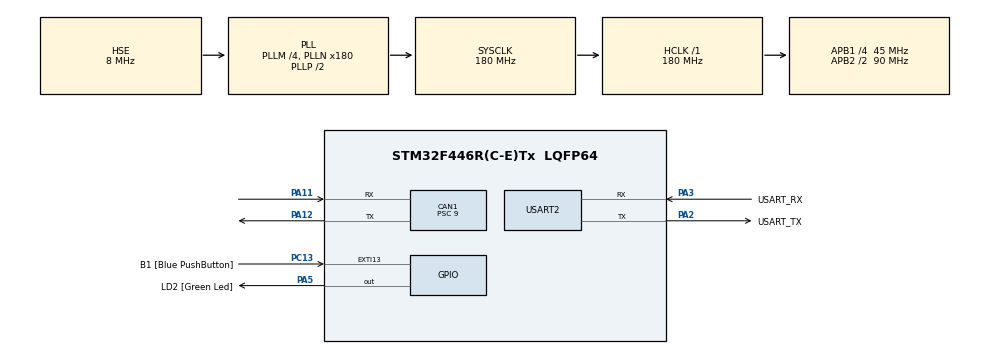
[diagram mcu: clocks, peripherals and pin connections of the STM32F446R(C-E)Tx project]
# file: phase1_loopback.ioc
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CAN1.BS1=CAN_BS1_8TQ
CAN1.CalculateBaudRate=500000
CAN1.CalculateTimeBit=2000
CAN1.CalculateTimeQuantum=200.0
CAN1.Mode=CAN_MODE_LOOPBACK
CAN1.Prescaler=9
Mcu.Family=STM32F4
Mcu.Name=STM32F446R(C-E)Tx
Mcu.Package=LQFP64
NVIC.PriorityGroup=NVIC_PRIORITYGROUP_0
PA11.Mode=CAN_Activate
PA11.Signal=CAN1_RX
PA12.Mode=CAN_Activate
PA12.Signal=CAN1_TX
PA13.GPIO_Label=TMS
PA13.Mode=Serial_Wire
PA13.Signal=SYS_JTMS-SWDIO
PA14.GPIO_Label=TCK
PA14.Mode=Serial_Wire
PA14.Signal=SYS_JTCK-SWCLK
PA2.GPIO_Label=USART_TX
PA2.Mode=Asynchronous
PA2.Signal=USART2_TX
PA3.GPIO_Label=USART_RX
PA3.Mode=Asynchronous
PA3.Signal=USART2_RX
PA5.GPIO_Label=LD2 [Green Led]
PA5.Signal=GPIO_Output
PB3.GPIO_Label=SWO
PB3.Signal=SYS_JTDO-SWO
PC13.GPIO_Label=B1 [Blue PushButton]
PC13.GPIO_ModeDefaultEXTI=GPIO_MODE_IT_FALLING
PC13.Signal=GPXTI13
PC14-OSC32_IN.Signal=RCC_OSC32_IN
PC15-OSC32_OUT.Signal=RCC_OSC32_OUT
PH0-OSC_IN.Mode=HSE-External-Clock-Source
PH0-OSC_IN.Signal=RCC_OSC_IN
PH1-OSC_OUT.Mode=HSE-External-Clock-Source
PH1-OSC_OUT.Signal=RCC_OSC_OUT
ProjectManager.HeapSize=0x200
ProjectManager.StackSize=0x400
ProjectManager.TargetToolchain=STM32CubeIDE
RCC.AHBFreq_Value=180000000
RCC.APB1CLKDivider=RCC_HCLK_DIV4
RCC.APB1Freq_Value=45000000
RCC.APB1TimFreq_Value=90000000
RCC.APB2CLKDivider=RCC_HCLK_DIV2
RCC.APB2Freq_Value=90000000
RCC.APB2TimFreq_Value=180000000
RCC.CortexFreq_Value=180000000
RCC.FLatency-AdvancedSettings=FLASH_LATENCY_5
RCC.HCLKFreq_Value=180000000
RCC.HSE_VALUE=8000000
RCC.HSI_VALUE=16000000
RCC.LSE_VALUE=32768
RCC.PLLM=4
RCC.PLLN=180
RCC.PLLSourceVirtual=RCC_PLLSOURCE_HSE
RCC.SYSCLKFreq_VALUE=180000000
RCC.SYSCLKSource=RCC_SYSCLKSOURCE_PLLCLK
RCC.USBFreq_Value=180000000
RCC.VCOOutputFreq_Value=360000000
USART2.VirtualMode=VM_ASYNC
board=NUCLEO-F446RE

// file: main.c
/* USER CODE BEGIN Header */
/**
  ******************************************************************************
  * @file           : main.c
  * @brief          : Main program body
  ******************************************************************************
  * @attention
  *
  * Copyright (c) 2026 STMicroelectronics.
  * All rights reserved.
  *
  * This software is licensed under terms that can be found in the LICENSE file
  * in the root directory of this software component.
  * If no LICENSE file comes with this software, it is provided AS-IS.
  *
  ******************************************************************************
  */
/* USER CODE END Header */
#include "main.h"
#include "can.h"
#include "usart.h"
#include "gpio.h"

/* USER CODE BEGIN Includes */
#include <stdio.h>
#include <string.h>
/* USER CODE END Includes */

/* USER CODE BEGIN PV */
uint32_t tx_count = 0;
uint32_t rx_count = 0;
/* USER CODE END PV */

void SystemClock_Config(void);

int main(void)
{

  /* MCU Configuration--------------------------------------------------------*/

  /* Reset of all peripherals, Initializes the Flash interface and the Systick. */
  HAL_Init();

  /* Configure the system clock */
  SystemClock_Config();

  /* Initialize all configured peripherals */
  MX_GPIO_Init();
  MX_USART2_UART_Init();
  MX_CAN1_Init();
  /* USER CODE BEGIN 2 */

  /* --- 단계별 반환값 저장 --- */
  HAL_StatusTypeDef filter_status;
  HAL_StatusTypeDef start_status;

  /* --- CAN 필터 --- */
  /* bxCAN은 필터를 통과한 프레임만 FIFO에 들어옴
  -> 필터 설정 없이는 아무것도 수신 못 함.
  IDMASK 모드 + 마스크 전부 0 = 모든 비트 don't care
  = 모든 ID 수신 허용 */
  CAN_FilterTypeDef filter = {0};
  filter.FilterBank          = 0;
  filter.FilterMode          = CAN_FILTERMODE_IDMASK;
  filter.FilterScale         = CAN_FILTERSCALE_32BIT;
  filter.FilterIdHigh        = 0x0000;
  filter.FilterIdLow         = 0x0000;
  filter.FilterMaskIdHigh    = 0x0000;
  filter.FilterMaskIdLow     = 0x0000;
  filter.FilterFIFOAssignment = CAN_RX_FIFO0;
  filter.FilterActivation    = ENABLE;
  filter.SlaveStartFilterBank = 14;
  // 필터 뱅크 28개를 CAN1/CAN2가 분할 사용, 14번부터 CAN2 몫
  filter_status = HAL_CAN_ConfigFilter(&hcan1, &filter);

  /* --- CAN Start --- */
  /* Start 전 상태 확인 */
  char filter_msg[80];
  int filter_len = snprintf(filter_msg, sizeof(filter_msg),
      "[FILTER] status=%d\r\n", filter_status);
  HAL_UART_Transmit(&huart2, (uint8_t*)filter_msg, filter_len, 100);

  char pre_msg[80];
  int pre_len = snprintf(pre_msg, sizeof(pre_msg),
      "[PRE-START] state=%lu err=0x%lX\r\n",
      (uint32_t)HAL_CAN_GetState(&hcan1),
      HAL_CAN_GetError(&hcan1));
  HAL_UART_Transmit(&huart2, (uint8_t*)pre_msg, pre_len, 100);

  start_status = HAL_CAN_Start(&hcan1);

  /* Start 후 상태 확인 */
  char post_msg[80];
  int post_len = snprintf(post_msg, sizeof(post_msg),
      "[POST-START] start=%d state=%lu err=0x%lX\r\n",
      start_status,
      (uint32_t)HAL_CAN_GetState(&hcan1),
      HAL_CAN_GetError(&hcan1));
  HAL_UART_Transmit(&huart2, (uint8_t*)post_msg, post_len, 100);

  uint32_t last_tick = 0;
  uint8_t led_state = 0;
  /* USER CODE END 2 */

  /* Infinite loop */
  /* USER CODE BEGIN WHILE */
  while (1)
  {
	  uint32_t now = HAL_GetTick();
	  if(now - last_tick >= 500){
		  last_tick = now;
		  led_state = !led_state;
		  HAL_GPIO_WritePin(LD2_GPIO_Port, LD2_Pin, led_state);

		  /* -- TX --- */
      // Stdld=0x123: 11비트 표준 ID
      // RTR=DATA: 데이터 프레임 (리모트 프레임 아님)
      // DLC=8: 페이로드 8바이트
		  CAN_TxHeaderTypeDef tx_header = {0};
		  tx_header.StdId	= 0x123;
		  tx_header.IDE 	= CAN_ID_STD;
		  tx_header.RTR 	= CAN_RTR_DATA;
		  tx_header.DLC 	= 8;
		  uint8_t tx_data[8];
		  memcpy(tx_data, &tx_count, 4); //카운터를 페이로드에 실음
		  memset(tx_data + 4, 0xAA, 4);

      /* TX 메일박스는 3개. AddTxMessage가 빈 메일박스를 골라
      번호를 mailbox에 반환. 3개 모두 차 있으면 HAL_ERROR */
		  uint32_t mailbox;
		  HAL_StatusTypeDef tx_status = HAL_CAN_AddTxMessage(&hcan1, &tx_header, tx_data, &mailbox); //반환값 저장
		  if(tx_status == HAL_OK){
			  tx_count++;
		  }

		  uint32_t err = HAL_CAN_GetError(&hcan1);  //에러코드 가져오기
		  uint32_t state = HAL_CAN_GetState(&hcan1); // 상태 가져오기

		  /* --- RX 폴링 --- */
      /* FIFO에 쌓인 프레임 수(0~3, 깊이 3) 확인 후 폴링 수신.
      GetRxMessage로 꺼내는 순간 FIFO에서 제거됨 */
		  if(HAL_CAN_GetRxFifoFillLevel(&hcan1, CAN_RX_FIFO0) > 0){
			  CAN_RxHeaderTypeDef rx_header;
			  uint8_t rx_data[8];
			  if(HAL_CAN_GetRxMessage(&hcan1, CAN_RX_FIFO0, &rx_header, rx_data) == HAL_OK){
				  rx_count++;
			  }
		  }

		  // UART 출력
		  char msg[128];
		  int len = snprintf(msg, sizeof(msg), "[F446RE] tx=%lu rx=%lu st=%d err=0x%lX state=%lu t=%lums\r\n",
				  tx_count, rx_count, tx_status, err, state, now);
		  HAL_UART_Transmit(&huart2, (uint8_t*)msg, len, 100);
	  }

    /* USER CODE END WHILE */

  }
}

void SystemClock_Config(void)
{
  RCC_OscInitTypeDef RCC_OscInitStruct = {0};
  RCC_ClkInitTypeDef RCC_ClkInitStruct = {0};

  /** Configure the main internal regulator output voltage
  */
  __HAL_RCC_PWR_CLK_ENABLE();
  __HAL_PWR_VOLTAGESCALING_CONFIG(PWR_REGULATOR_VOLTAGE_SCALE1);

  /** Initializes the RCC Oscillators according to the specified parameters
  * in the RCC_OscInitTypeDef structure.
  */
  RCC_OscInitStruct.OscillatorType = RCC_OSCILLATORTYPE_HSE;
  RCC_OscInitStruct.HSEState = RCC_HSE_BYPASS;
  RCC_OscInitStruct.PLL.PLLState = RCC_PLL_ON;
  RCC_OscInitStruct.PLL.PLLSource = RCC_PLLSOURCE_HSE;
  RCC_OscInitStruct.PLL.PLLM = 4;
  RCC_OscInitStruct.PLL.PLLN = 180;
  RCC_OscInitStruct.PLL.PLLP = RCC_PLLP_DIV2;
  RCC_OscInitStruct.PLL.PLLQ = 2;
  RCC_OscInitStruct.PLL.PLLR = 2;
  if (HAL_RCC_OscConfig(&RCC_OscInitStruct) != HAL_OK)
  {
    Error_Handler();
  }

  /** Activate the Over-Drive mode
  */
  if (HAL_PWREx_EnableOverDrive() != HAL_OK)
  {
    Error_Handler();
  }

  /** Initializes the CPU, AHB and APB buses clocks
  */
  RCC_ClkInitStruct.ClockType = RCC_CLOCKTYPE_HCLK|RCC_CLOCKTYPE_SYSCLK
                              |RCC_CLOCKTYPE_PCLK1|RCC_CLOCKTYPE_PCLK2;
  RCC_ClkInitStruct.SYSCLKSource = RCC_SYSCLKSOURCE_PLLCLK;
  RCC_ClkInitStruct.AHBCLKDivider = RCC_SYSCLK_DIV1;
  RCC_ClkInitStruct.APB1CLKDivider = RCC_HCLK_DIV4;
  RCC_ClkInitStruct.APB2CLKDivider = RCC_HCLK_DIV2;

  if (HAL_RCC_ClockConfig(&RCC_ClkInitStruct, FLASH_LATENCY_5) != HAL_OK)
  {
    Error_Handler();
  }
}

void Error_Handler(void)
{
  __disable_irq();
  while (1)
  {
  }
}
